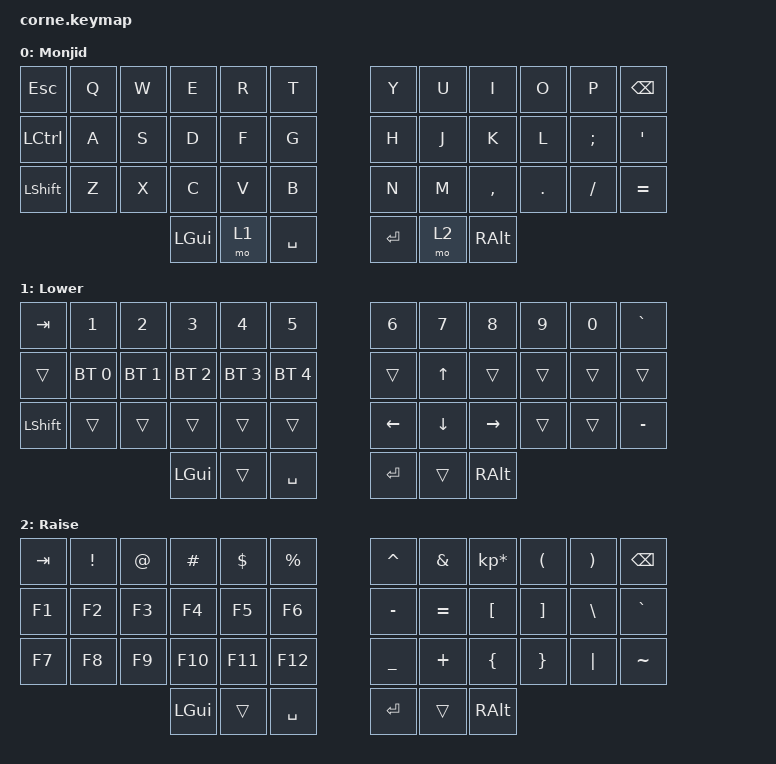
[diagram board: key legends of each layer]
/*
 * Copyright (c) 2020 The ZMK Contributors
 *
 * SPDX-License-Identifier: MIT
 */

#include <behaviors.dtsi>
#include <dt-bindings/zmk/bt.h>
#include <dt-bindings/zmk/keys.h>

/ {
    combos {
        compatible = "zmk,combos";

        clear-bt {
            bindings = <&bt BT_CLR>;
            key-positions = <37 27 0>;
        };
    };

    keymap {
        compatible = "zmk,keymap";

        default_layer {
            // -----------------------------------------------------------------------------------------
            // |  ESC |  Q  |  W  |  E  |  R  |  T  |   |  Y  |  U   |  I  |  O  |  P  | BKSP |
            // | CTRL |  A  |  S  |  D  |  F  |  G  |   |  H  |  J   |  K  |  L  |  ;  |  '   |
            // | SHFT |  Z  |  X  |  C  |  V  |  B  |   |  N  |  M   |  ,  |  .  |  /  |   =  |
            //                    | GUI | LWR | SPC |   | ENT | RSE  | ALT |

            display-name = "Monjid";
            bindings = <
&kp ESCAPE  &kp Q  &kp W  &kp E     &kp R  &kp T        &kp Y    &kp U  &kp I      &kp O    &kp P     &kp BSPC
&kp LCTRL   &kp A  &kp S  &kp D     &kp F  &kp G        &kp H    &kp J  &kp K      &kp L    &kp SEMI  &kp SQT
&kp LSHFT   &kp Z  &kp X  &kp C     &kp V  &kp B        &kp N    &kp M  &kp COMMA  &kp DOT  &kp FSLH  &kp EQUAL
                          &kp LGUI  &mo 1  &kp SPACE    &kp RET  &mo 2  &kp RALT
            >;
        };

        lower_layer {
            // -----------------------------------------------------------------------------------------
            // |  TAB |  1  |  2  |  3  |  4  |  5  |   |  6  |  7  |  8  |  9  |  0  |  `   |
            // |      |     | UP  |     |     |     |   |BTCLR| BT1 | BT2 | BT3 | BT4 |  BT5 |
            // | SHFT |LEFT |DOWN |RIGHT|     |     |   |     |     |     |     |     |      |
            //                    | GUI |     | SPC |   | ENT |     | ALT |

            display-name = "Lower";
            bindings = <
&kp TAB    &kp N1        &kp N2        &kp N3        &kp N4        &kp N5          &kp N6          &kp N7          &kp N8           &kp N9  &kp N0  &kp GRAVE
&trans     &bt BT_SEL 0  &bt BT_SEL 1  &bt BT_SEL 2  &bt BT_SEL 3  &bt BT_SEL 4    &trans          &kp UP_ARROW    &trans           &trans  &trans  &trans
&kp LSHFT  &trans        &trans        &trans        &trans        &trans          &kp LEFT_ARROW  &kp DOWN_ARROW  &kp RIGHT_ARROW  &trans  &trans  &kp MINUS
                                       &kp LGUI      &trans        &kp SPACE       &kp RET         &trans          &kp RALT
            >;
        };

        raise_layer {
            // -----------------------------------------------------------------------------------------
            // |  TAB |  !  |  @  |  #  |  $  |  %  |   |  ^  |  &  |  *  |  (  |  )  | BKSP |
            // |  F1  |  F2 |  F3 |  F4 |  F5 |  F6 |   |  -  |  =  |  [  |  ]  |  \  |  `   |
            // |  F7  |  F8 |  F9 |  F10|  F11|  F12|   |  _  |  +  |  {  |  }  | "|" |  ~   |
            //                    | GUI |     | SPC |   | ENT |     | ALT |

            display-name = "Raise";
            bindings = <
&kp TAB  &kp EXCL  &kp AT  &kp HASH  &kp DLLR  &kp PRCNT    &kp CARET  &kp AMPS   &kp KP_MULTIPLY  &kp LPAR  &kp RPAR  &kp BSPC
&kp F1   &kp F2    &kp F3  &kp F4    &kp F5    &kp F6       &kp MINUS  &kp EQUAL  &kp LBKT         &kp RBKT  &kp BSLH  &kp GRAVE
&kp F7   &kp F8    &kp F9  &kp F10   &kp F11   &kp F12      &kp UNDER  &kp PLUS   &kp LBRC         &kp RBRC  &kp PIPE  &kp TILDE
                           &kp LGUI  &trans    &kp SPACE    &kp RET    &trans     &kp RALT
            >;
        };
    };
};
